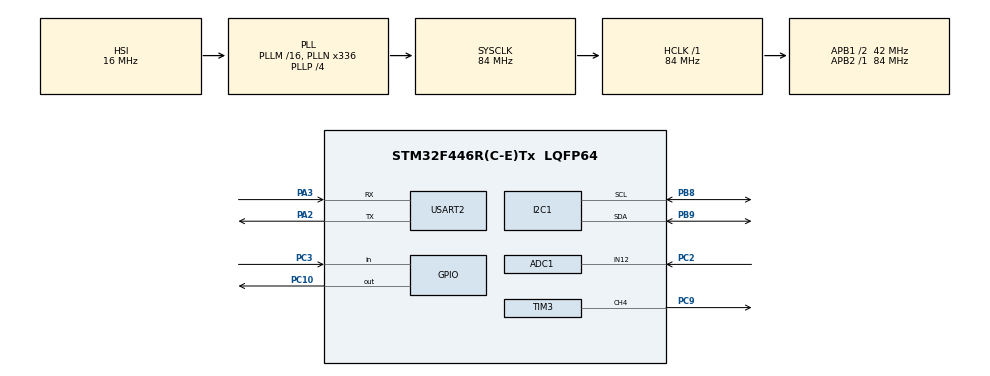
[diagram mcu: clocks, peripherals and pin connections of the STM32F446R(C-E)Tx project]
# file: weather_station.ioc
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ADC1.Channel-0\#ChannelRegularConversion=ADC_CHANNEL_12
ADC1.NbrOfConversionFlag=1
ADC1.Rank-0\#ChannelRegularConversion=1
ADC1.SamplingTime-0\#ChannelRegularConversion=ADC_SAMPLETIME_3CYCLES
ADC1.master=1
Mcu.Family=STM32F4
Mcu.Name=STM32F446R(C-E)Tx
Mcu.Package=LQFP64
NVIC.PriorityGroup=NVIC_PRIORITYGROUP_0
PA2.Mode=Asynchronous
PA2.Signal=USART2_TX
PA3.Mode=Asynchronous
PA3.Signal=USART2_RX
PB8.Mode=I2C
PB8.Signal=I2C1_SCL
PB9.Mode=I2C
PB9.Signal=I2C1_SDA
PC10.Signal=GPIO_Output
PC2.Signal=ADCx_IN12
PC3.Signal=GPIO_Input
PC9.Signal=S_TIM3_CH4
ProjectManager.HeapSize=0x200
ProjectManager.StackSize=0x400
ProjectManager.TargetToolchain=STM32CubeIDE
RCC.AHBFreq_Value=84000000
RCC.APB1CLKDivider=RCC_HCLK_DIV2
RCC.APB1Freq_Value=42000000
RCC.APB1TimFreq_Value=84000000
RCC.APB2Freq_Value=84000000
RCC.APB2TimFreq_Value=84000000
RCC.CortexFreq_Value=84000000
RCC.FLatency-AdvancedSettings=FLASH_LATENCY_2
RCC.HCLKFreq_Value=84000000
RCC.HSE_VALUE=8000000
RCC.HSI_VALUE=16000000
RCC.LSE_VALUE=32768
RCC.PLLN=336
RCC.PLLP=RCC_PLLP_DIV4
RCC.SYSCLKFreq_VALUE=84000000
RCC.SYSCLKSource=RCC_SYSCLKSOURCE_PLLCLK
RCC.USBFreq_Value=168000000
RCC.VCOOutputFreq_Value=336000000
SH.ADCx_IN12.0=ADC1_IN12,IN12
SH.S_TIM3_CH4.0=TIM3_CH4,PWM Generation4 CH4
TIM3.Channel-PWM\ Generation4\ CH4=TIM_CHANNEL_4
TIM3.Prescaler=83
USART2.VirtualMode=VM_ASYNC
board=NUCLEO-F446RE

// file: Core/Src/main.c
/* USER CODE BEGIN Header */
/**
  ******************************************************************************
  * @file           : main.c
  * @brief          : Main program body
  ******************************************************************************
  * @attention
  *
  * Copyright (c) 2026 STMicroelectronics.
  * All rights reserved.
  *
  * This software is licensed under terms that can be found in the LICENSE file
  * in the root directory of this software component.
  * If no LICENSE file comes with this software, it is provided AS-IS.
  *
  ******************************************************************************
  */
/* USER CODE END Header */
#include "main.h"
#include "fonts.h"
#include "servo.h"
#include "oled.h"
#include <stdint.h>
#include <string.h>
#include <stdio.h>

ADC_HandleTypeDef hadc1;

I2C_HandleTypeDef hi2c1;

TIM_HandleTypeDef htim3;

UART_HandleTypeDef huart2;

/* USER CODE BEGIN PV */
uint16_t sunlight;
uint8_t rain;

char *sunstate="";
char *roofstate="";

void weather_task(){

	sunlight = HAL_ADC_GetValue(&hadc1);
	rain = HAL_GPIO_ReadPin(GPIOC,GPIO_PIN_3);
	if(sunlight>3900){
		sunstate="SUNNY";
	}
	else if(sunlight>3700 && sunlight<3890){
		sunstate="CLOUDY";
	}
	else if(sunlight<3680){
		sunstate="DARK";
	}
	HAL_Delay(100);
}

void servo_task(){
	if(rain){
		servo_move(0);
		roofstate="CLOSED";
	}
	else if(!rain){
		servo_move(180);
		roofstate="OPEN";
	}
}

void logger_task(){
	char title[]="WEATHER STATION";
	char msg1[50],msg2[50];
	sprintf(msg1,"DAY : %s",sunstate);
	sprintf(msg2,"ROOF : %s",roofstate);

	oled_clear();
    oled_write_string(15,1,title);
    oled_write_string(15,3,msg1);
    oled_write_string(15,5,msg2);
    oled_update();

	HAL_Delay(200);
}
/* USER CODE END PV */

void SystemClock_Config(void);
static void MX_GPIO_Init(void);
static void MX_TIM3_Init(void);
static void MX_USART2_UART_Init(void);
static void MX_ADC1_Init(void);
static void MX_I2C1_Init(void);

int main(void)
{

  /* MCU Configuration--------------------------------------------------------*/

  /* Reset of all peripherals, Initializes the Flash interface and the Systick. */
  HAL_Init();

  /* Configure the system clock */
  SystemClock_Config();

  /* Initialize all configured peripherals */
  MX_GPIO_Init();
  MX_TIM3_Init();
  MX_USART2_UART_Init();
  MX_ADC1_Init();
  MX_I2C1_Init();
  /* USER CODE BEGIN 2 */
  oled_init();
  /* USER CODE END 2 */

  /* Infinite loop */
  /* USER CODE BEGIN WHILE */
  HAL_TIM_PWM_Start(&htim3,TIM_CHANNEL_4);
  while (1)
  {
    HAL_ADC_Start(&hadc1);
    weather_task();
    servo_task();
    logger_task();
  }
  /* USER CODE END 3 */
}

void SystemClock_Config(void)
{
  RCC_OscInitTypeDef RCC_OscInitStruct = {0};
  RCC_ClkInitTypeDef RCC_ClkInitStruct = {0};

  /** Configure the main internal regulator output voltage
  */
  __HAL_RCC_PWR_CLK_ENABLE();
  __HAL_PWR_VOLTAGESCALING_CONFIG(PWR_REGULATOR_VOLTAGE_SCALE3);

  /** Initializes the RCC Oscillators according to the specified parameters
  * in the RCC_OscInitTypeDef structure.
  */
  RCC_OscInitStruct.OscillatorType = RCC_OSCILLATORTYPE_HSI;
  RCC_OscInitStruct.HSIState = RCC_HSI_ON;
  RCC_OscInitStruct.HSICalibrationValue = RCC_HSICALIBRATION_DEFAULT;
  RCC_OscInitStruct.PLL.PLLState = RCC_PLL_ON;
  RCC_OscInitStruct.PLL.PLLSource = RCC_PLLSOURCE_HSI;
  RCC_OscInitStruct.PLL.PLLM = 16;
  RCC_OscInitStruct.PLL.PLLN = 336;
  RCC_OscInitStruct.PLL.PLLP = RCC_PLLP_DIV4;
  RCC_OscInitStruct.PLL.PLLQ = 2;
  RCC_OscInitStruct.PLL.PLLR = 2;
  if (HAL_RCC_OscConfig(&RCC_OscInitStruct) != HAL_OK)
  {
    Error_Handler();
  }

  /** Initializes the CPU, AHB and APB buses clocks
  */
  RCC_ClkInitStruct.ClockType = RCC_CLOCKTYPE_HCLK|RCC_CLOCKTYPE_SYSCLK
                              |RCC_CLOCKTYPE_PCLK1|RCC_CLOCKTYPE_PCLK2;
  RCC_ClkInitStruct.SYSCLKSource = RCC_SYSCLKSOURCE_PLLCLK;
  RCC_ClkInitStruct.AHBCLKDivider = RCC_SYSCLK_DIV1;
  RCC_ClkInitStruct.APB1CLKDivider = RCC_HCLK_DIV2;
  RCC_ClkInitStruct.APB2CLKDivider = RCC_HCLK_DIV1;

  if (HAL_RCC_ClockConfig(&RCC_ClkInitStruct, FLASH_LATENCY_2) != HAL_OK)
  {
    Error_Handler();
  }
}

static void MX_ADC1_Init(void)
{

  ADC_ChannelConfTypeDef sConfig = {0};

  /** Configure the global features of the ADC (Clock, Resolution, Data Alignment and number of conversion)
  */
  hadc1.Instance = ADC1;
  hadc1.Init.ClockPrescaler = ADC_CLOCK_SYNC_PCLK_DIV4;
  hadc1.Init.Resolution = ADC_RESOLUTION_12B;
  hadc1.Init.ScanConvMode = DISABLE;
  hadc1.Init.ContinuousConvMode = DISABLE;
  hadc1.Init.DiscontinuousConvMode = DISABLE;
  hadc1.Init.ExternalTrigConvEdge = ADC_EXTERNALTRIGCONVEDGE_NONE;
  hadc1.Init.ExternalTrigConv = ADC_SOFTWARE_START;
  hadc1.Init.DataAlign = ADC_DATAALIGN_RIGHT;
  hadc1.Init.NbrOfConversion = 1;
  hadc1.Init.DMAContinuousRequests = DISABLE;
  hadc1.Init.EOCSelection = ADC_EOC_SINGLE_CONV;
  if (HAL_ADC_Init(&hadc1) != HAL_OK)
  {
    Error_Handler();
  }

  /** Configure for the selected ADC regular channel its corresponding rank in the sequencer and its sample time.
  */
  sConfig.Channel = ADC_CHANNEL_12;
  sConfig.Rank = 1;
  sConfig.SamplingTime = ADC_SAMPLETIME_3CYCLES;
  if (HAL_ADC_ConfigChannel(&hadc1, &sConfig) != HAL_OK)
  {
    Error_Handler();
  }

}

static void MX_I2C1_Init(void)
{

  hi2c1.Instance = I2C1;
  hi2c1.Init.ClockSpeed = 100000;
  hi2c1.Init.DutyCycle = I2C_DUTYCYCLE_2;
  hi2c1.Init.OwnAddress1 = 0;
  hi2c1.Init.AddressingMode = I2C_ADDRESSINGMODE_7BIT;
  hi2c1.Init.DualAddressMode = I2C_DUALADDRESS_DISABLE;
  hi2c1.Init.OwnAddress2 = 0;
  hi2c1.Init.GeneralCallMode = I2C_GENERALCALL_DISABLE;
  hi2c1.Init.NoStretchMode = I2C_NOSTRETCH_DISABLE;
  if (HAL_I2C_Init(&hi2c1) != HAL_OK)
  {
    Error_Handler();
  }

}

static void MX_TIM3_Init(void)
{

  TIM_MasterConfigTypeDef sMasterConfig = {0};
  TIM_OC_InitTypeDef sConfigOC = {0};

  htim3.Instance = TIM3;
  htim3.Init.Prescaler = 83;
  htim3.Init.CounterMode = TIM_COUNTERMODE_UP;
  htim3.Init.Period = 65535;
  htim3.Init.ClockDivision = TIM_CLOCKDIVISION_DIV1;
  htim3.Init.AutoReloadPreload = TIM_AUTORELOAD_PRELOAD_DISABLE;
  if (HAL_TIM_PWM_Init(&htim3) != HAL_OK)
  {
    Error_Handler();
  }
  sMasterConfig.MasterOutputTrigger = TIM_TRGO_RESET;
  sMasterConfig.MasterSlaveMode = TIM_MASTERSLAVEMODE_DISABLE;
  if (HAL_TIMEx_MasterConfigSynchronization(&htim3, &sMasterConfig) != HAL_OK)
  {
    Error_Handler();
  }
  sConfigOC.OCMode = TIM_OCMODE_PWM1;
  sConfigOC.Pulse = 0;
  sConfigOC.OCPolarity = TIM_OCPOLARITY_HIGH;
  sConfigOC.OCFastMode = TIM_OCFAST_DISABLE;
  if (HAL_TIM_PWM_ConfigChannel(&htim3, &sConfigOC, TIM_CHANNEL_4) != HAL_OK)
  {
    Error_Handler();
  }
  HAL_TIM_MspPostInit(&htim3);

}

static void MX_USART2_UART_Init(void)
{

  huart2.Instance = USART2;
  huart2.Init.BaudRate = 115200;
  huart2.Init.WordLength = UART_WORDLENGTH_8B;
  huart2.Init.StopBits = UART_STOPBITS_1;
  huart2.Init.Parity = UART_PARITY_NONE;
  huart2.Init.Mode = UART_MODE_TX_RX;
  huart2.Init.HwFlowCtl = UART_HWCONTROL_NONE;
  huart2.Init.OverSampling = UART_OVERSAMPLING_16;
  if (HAL_UART_Init(&huart2) != HAL_OK)
  {
    Error_Handler();
  }

}

static void MX_GPIO_Init(void)
{
  GPIO_InitTypeDef GPIO_InitStruct = {0};

  /* GPIO Ports Clock Enable */
  __HAL_RCC_GPIOC_CLK_ENABLE();
  __HAL_RCC_GPIOA_CLK_ENABLE();
  __HAL_RCC_GPIOB_CLK_ENABLE();

  /*Configure GPIO pin Output Level */
  HAL_GPIO_WritePin(GPIOC, GPIO_PIN_10, GPIO_PIN_RESET);

  /*Configure GPIO pin : PC3 */
  GPIO_InitStruct.Pin = GPIO_PIN_3;
  GPIO_InitStruct.Mode = GPIO_MODE_INPUT;
  GPIO_InitStruct.Pull = GPIO_NOPULL;
  HAL_GPIO_Init(GPIOC, &GPIO_InitStruct);

  /*Configure GPIO pin : PC10 */
  GPIO_InitStruct.Pin = GPIO_PIN_10;
  GPIO_InitStruct.Mode = GPIO_MODE_OUTPUT_PP;
  GPIO_InitStruct.Pull = GPIO_NOPULL;
  GPIO_InitStruct.Speed = GPIO_SPEED_FREQ_LOW;
  HAL_GPIO_Init(GPIOC, &GPIO_InitStruct);

}

void Error_Handler(void)
{
  __disable_irq();
  while (1)
  {
  }
}
